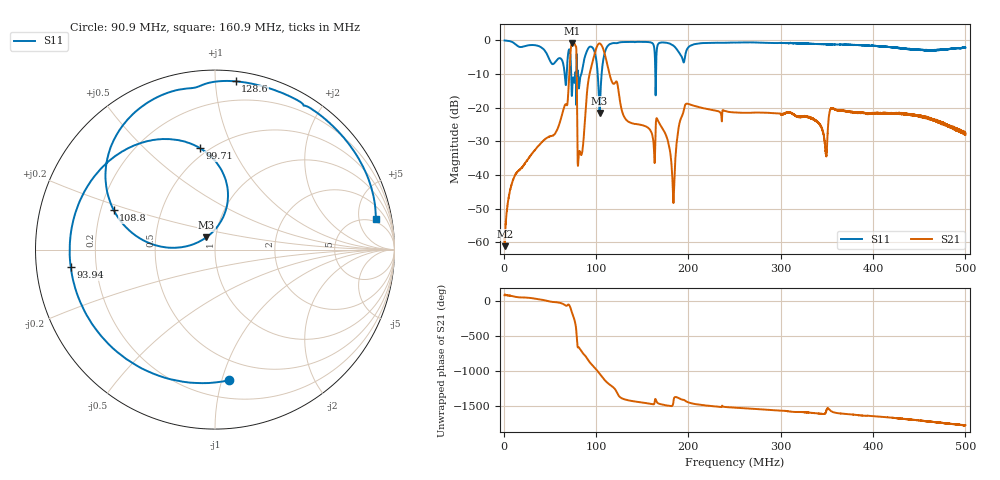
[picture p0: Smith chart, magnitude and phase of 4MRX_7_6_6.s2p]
! NanoVNA-App
! Date: 2026-08-19 14:51:11
! Start: 1MHz Stop: 500MHz Points: 6401
! S-Parameter data: F S11 S21 S12 S22
# Hz S RI R 50
!  Frequency  S11_Real  S11_Imag  S21_Real  S21_Imag  S12_Real  S12_Imag  S22_Real  S22_Imag
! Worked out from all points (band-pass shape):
!   6401 points, 1 MHz to 500 MHz, reference 50 ohm
!   highest |S21| = -0.88 dB at 74.13 MHz (marker M1); lowest = -61.2 dB at 1.078 MHz (marker M2)
!   |S21| within 3 dB of the highest: 72.31 MHz to 78.78 MHz (6.47 MHz wide, 8.56 % of centre); 98.6 MHz to 109.3 MHz (10.69 MHz wide, 10.3 % of centre)
!   lowest |S11| = -21.5 dB at 103.8 MHz (marker M3), VSWR 1.18, Z = 45 + j6.25 ohm
!   |S11| at or under -10 dB: 73.11 MHz to 77.44 MHz (4.333 MHz wide, 5.76 % of centre); 80.5 MHz to 84.06 MHz (3.567 MHz wide, 4.33 % of centre); 101.8 MHz to 106.1 MHz (4.233 MHz wide, 4.07 % of centre)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
!   S12 and S22 are empty: the file has one direction only
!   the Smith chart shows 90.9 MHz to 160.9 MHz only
!   S11 on the Smith chart (normalised r, x): 90.9 MHz: 0.33, -1.05; 93.94 MHz: 0.11, -0.06; 99.71 MHz: 0.45, +0.76; 108.8 MHz: 0.25, +0.18; 128.6 MHz: 0.06, +1.13; 160.9 MHz: 4.11, +8.52
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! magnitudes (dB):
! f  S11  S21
! 1 MHz  0.0  -58.5
! 1.078 MHz  0.0  -61.2
! 12.31 MHz  -1.0  -40.1
! 59.32 MHz  -5.4  -25.6
! 74.13 MHz  -15.2  -0.9
! 76.86 MHz  -12.2  -1.0
! 81.78 MHz  -13.5  -33.1
! 84.19 MHz  -9.9  -34.0
! 90.9 MHz  -2.7  -13.7
! 93.94 MHz  -1.8  -8.9
! 99.71 MHz  -4.8  -2.8
! 103.8 MHz  -21.5  -0.9
! 108.8 MHz  -4.3  -3.4
! 128.6 MHz  -0.5  -21.5
! 160.9 MHz  -0.8  -28.1
! 167.4 MHz  -1.0  -24.0
! 183.5 MHz  -1.5  -47.2
! 197.8 MHz  -3.1  -18.8
! 250.5 MHz  -0.6  -21.4
! 333.7 MHz  -1.0  -23.0
! 416.9 MHz  -1.9  -21.6
! 500 MHz  -2.1  -28.0
